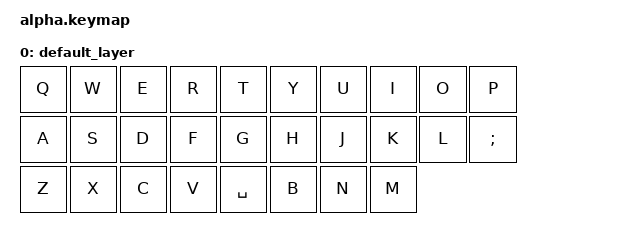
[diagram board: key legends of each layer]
#include <behaviors.dtsi>
#include <dt-bindings/zmk/keys.h>

// | 0 | 1 | 2 | 3 | 4 | 5 | 6 | 7 | 8 | 9 |
// |10 |11 |12 |13 |14 |15 |16 |17 |18 |19 |
//    |20 |21 |22 |23 |24 |25 |26 |27 |


/ {
    keymap {
        compatible = "zmk,keymap";

        default_layer {
	bindings = <
	&kp Q    &kp W    &kp E     &kp R     &kp T     &kp Y     &kp U     &kp I     &kp O     &kp P
	&kp A    &kp S    &kp D     &kp F     &kp G     &kp H     &kp J     &kp K     &kp L     &kp SEMI
	&kp Z    &kp X    &kp C     &kp V     &kp SPACE     &kp B     &kp N     &kp M
	>;

            
        };
    };
};
